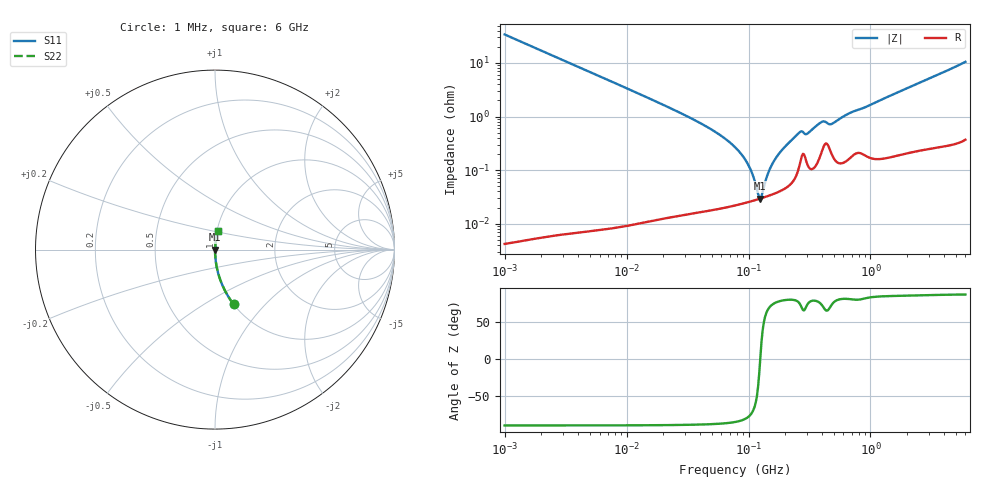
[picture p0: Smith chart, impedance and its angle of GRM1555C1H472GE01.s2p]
!Murata Part Number: GRM1555C1H472GE01
!These Parameters are Measured in Series Mode Connection
!Data Generated on Mar 30, 2021
!  o--ll--o
!Port1  Port2
!  o------o
!Operation Temp=25[degC], DC Bias Voltage=0[V]
!Freq. Start=1000[kHz] Stop=6[GHz] 401[Steps]
# Hz S RI R 50
!Freq.(Hz) S11(Real) S11(Imag) S21(Real) S21(Imag) S12(Real) S12(Imag) S22(Real) S22(Imag)
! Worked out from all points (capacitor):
!   401 points, 1 MHz to 6 GHz, reference 50 ohm
!   read as one part in series: C = 4.68 nF near 1.044 MHz
!   lowest |Z| = 29.5 mohm at 125 MHz (marker M1)
!   series resonance near 124.7 MHz, so ESL is about 350 pH
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1000000  0.1039 -0.305  0.8961 0.305  0.8961 0.305  0.1039 -0.305
2049734  0.0269 -0.1616  0.9731 0.1616  0.9731 0.1616  0.0269 -0.1616
4293785  0.0063 -0.0787  0.9937 0.0787  0.9937 0.0787  0.0063 -0.0787
1.843659e7  0.000443 -0.018  0.9996 0.018  0.9996 0.018  0.000443 -0.018
4.697123e7  0.000212 -0.00618  0.9998 0.00618  0.9998 0.00618  0.000212 -0.00618
7.745967e7  0.000226 -0.00267  0.9998 0.00267  0.9998 0.00267  0.000226 -0.00267
9.83954e7  0.000253 -0.00129  0.9997 0.00129  0.9997 0.00129  0.000253 -0.00129
1.073387e8  0.000266 -0.000813  0.9997 0.000813  0.9997 0.000813  0.000266 -0.000813
1.196694e8  0.000286 -0.000222  0.9997 0.000222  0.9997 0.000222  0.000286 -0.000222
1.249896e8  0.000295 1.33e-05  0.9997 -1.33e-05  0.9997 -1.33e-05  0.000295 1.33e-05
1.305463e8  0.000304 0.000249  0.9997 -0.000249  0.9997 -0.000249  0.000304 0.000249
1.424119e8  0.000325 0.000724  0.9997 -0.000724  0.9997 -0.000724  0.000325 0.000724
1.520136e8  0.000344 0.00109  0.9997 -0.00109  0.9997 -0.00109  0.000344 0.00109
1.809028e8  0.000407 0.00209  0.9996 -0.00209  0.9996 -0.00209  0.000407 0.00209
2.618284e8  0.00125 0.0049  0.9988 -0.0049  0.9988 -0.0049  0.00125 0.0049
2.983246e8  0.00145 0.00445  0.9985 -0.00445  0.9985 -0.00445  0.00145 0.00445
3.325952e8  0.00108 0.00564  0.9989 -0.00564  0.9989 -0.00564  0.00108 0.00564
3.958029e8  0.00216 0.00756  0.9978 -0.00756  0.9978 -0.00756  0.00216 0.00756
4.813793e8  0.00202 0.00699  0.998 -0.00699  0.998 -0.00699  0.00202 0.00699
6.817316e8  0.00182 0.0116  0.9982 -0.0116  0.9982 -0.0116  0.00182 0.0116
1.428092e9  0.00229 0.024  0.9977 -0.024  0.9977 -0.024  0.00229 0.024
6e9  0.0145 0.103  0.9855 -0.103  0.9855 -0.103  0.0145 0.103
